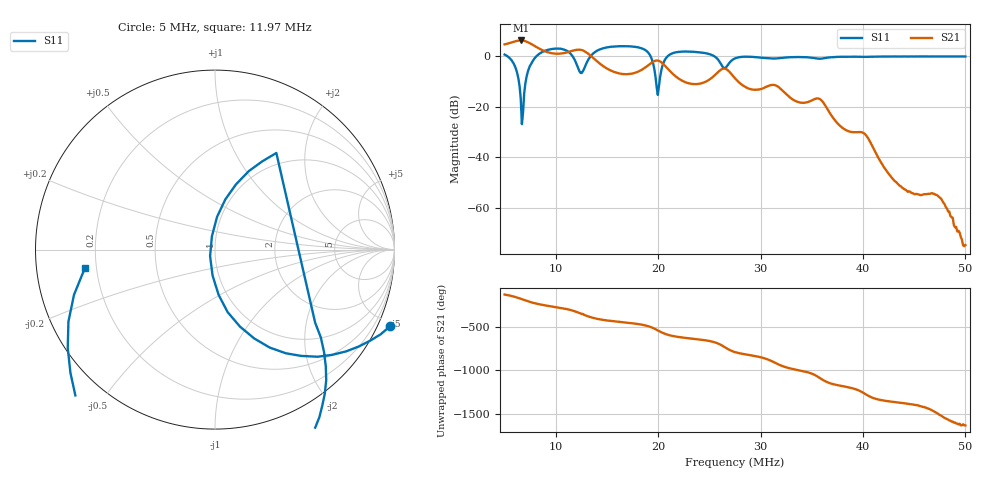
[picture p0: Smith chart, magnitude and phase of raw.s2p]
! S11/S21 only; reverse parameters are placeholders. Device calibration unverified.
! NanoVNA F V2 profile | COM3 | 2026-09-08T11:36:31.6613405-04:00 | device calibration unverified
# HZ S RI R 50
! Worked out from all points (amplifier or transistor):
!   401 points, 5 MHz to 50 MHz, reference 50 ohm
!   highest |S21| = 6.1 dB at 6.575 MHz (marker M1)
!   |S21| within 3 dB of that: start of sweep to 8.288 MHz
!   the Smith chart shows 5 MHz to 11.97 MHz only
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5000000  0.9765 -0.4259  -1.194 -1.2  0 0  0 0
6012500  0.3047 -0.5458  -1.843 -0.6092  0 0  0 0
6575000  -0.0135 -0.1447  -2.019 0.1094  0 0  0 0
7250000  0.1885 0.4375  -1.613 0.9575  0 0  0 0
7812500  0.6073 -0.5701  -1.04 1.252  0 0  0 0
1.02875e7  -0.162 -1.387  0.2513 1.079  0 0  0 0
1.16375e7  -0.8204 -0.5488  0.939 0.8513  0 0  0 0
1.25375e7  -0.0864 0.4551  1.303 0.0899  0 0  0 0
1.34375e7  0.9914 0.1965  0.8238 -0.5609  0 0  0 0
1.43375e7  1.301 -0.3799  0.3646 -0.5931  0 0  0 0
1.8275e7  0.586 -1.314  -0.224 -0.4668  0 0  0 0
1.95125e7  -0.3363 -0.6156  -0.7106 -0.2995  0 0  0 0
2.0075e7  0.0402 0.2517  -0.7848 0.1513  0 0  0 0
2.15375e7  1.151 -0.1138  -0.1447 0.3976  0 0  0 0
2.51375e7  0.8133 -0.6866  0.2207 0.2834  0 0  0 0
2.6375e7  0.475 -0.3464  0.5606 -0.0571  0 0  0 0
2.75e7  0.8628 -0.2384  0.1151 -0.344  0 0  0 0
3.12125e7  0.7415 -0.4935  -0.2697 0.00449  0 0  0 0
3.50375e7  0.6307 -0.6728  0.1002 0.0889  0 0  0 0
4.2575e7  0.4411 -0.8692  0.000291 0.00455  0 0  0 0
4.74125e7  0.2569 -0.9417  0.00079 -0.00148  0 0  0 0
5e7  0.1601 -0.963  -0.000185 2.4e-05  0 0  0 0
